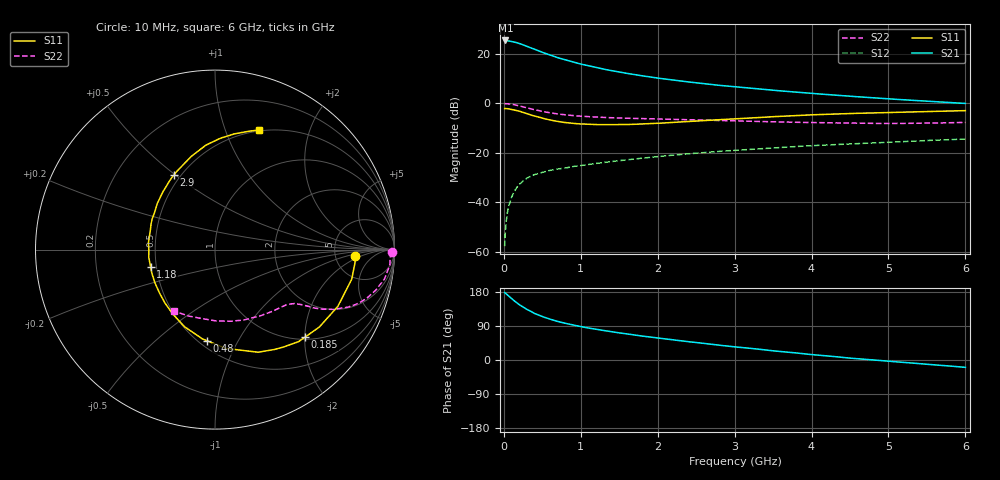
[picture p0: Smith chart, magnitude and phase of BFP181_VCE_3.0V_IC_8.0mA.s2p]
! Infineon Technologies  Discrete & RF Semiconductors
! BFP181
! VCE = 3.0 V,  IC =  8.0 mA
! Common Emitter S-Parameters:  Jan 2016
# GHz  S  MA  R  50
!  f  S11  S21  S12  S22
! GHz  MAG  ANG  MAG  ANG  MAG  ANG  MAG  ANG
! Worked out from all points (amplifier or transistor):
!   210 points, 10 MHz to 6 GHz, reference 50 ohm
!   highest |S21| = 25.4 dB at 20 MHz (marker M1)
!   |S21| within 3 dB of that: start of sweep to 354.3 MHz
!   unconditionally stable (mu >= 1): 1.301 GHz to end of sweep
!   at 185 MHz: K = 0.24, MSG = 28.8 dB, |S12| = -33.4 dB
!   at 1.52 GHz: K = 1.06, MAG = 16.3 dB, |S12| = -23.1 dB
!   at 6 GHz: K = 1.01, MAG = 6.5 dB, |S12| = -14.5 dB
!   S11 on the Smith chart (normalised r, x): 10 MHz: 7.91, -1.44; 185 MHz: 1.05, -2.00; 480 MHz: 0.55, -0.75; 1.18 GHz: 0.46, -0.10; 2.9 GHz: 0.46, +0.50; 6 GHz: 0.49, +1.31
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0.01  0.782 -2.6  18.52 178.0  0.0013 85.2  0.9849 -0.8
0.02  0.7837 -5.2  18.56 176.6  0.0026 91.3  0.9778 -1.9
0.05  0.7794 -12.2  18.37 170.8  0.0067 84.4  0.9777 -5.0
0.1  0.754 -24.8  17.71 162.2  0.0126 77.2  0.9586 -9.8
0.15  0.7239 -36.6  17.08 153.7  0.018 70.9  0.9243 -14.1
0.185  0.6995 -44.3  16.43 148.5  0.0215 67.7  0.8983 -16.7
0.24  0.6617 -55.4  15.33 140.8  0.0261 63.8  0.8556 -20.3
0.3  0.6202 -67.2  14.23 133.5  0.0308 60.1  0.8086 -23.3
0.4  0.5542 -83.7  12.33 122.7  0.0363 54.5  0.7395 -26.8
0.48  0.5098 -95.0  10.99 116.3  0.0394 51.7  0.6952 -28.5
0.6  0.4621 -111.5  9.467 107.5  0.0442 49.3  0.6413 -30.5
0.7  0.4297 -123.1  8.328 101.7  0.0471 47.8  0.6081 -31.3
0.8  0.4078 -133.2  7.526 96.7  0.0493 46.9  0.5839 -32.0
1.02  0.3805 -152.9  6.095 87.5  0.0557 46.2  0.5462 -33.6
1.18  0.3713 -165.3  5.351 81.8  0.0604 45.8  0.5282 -34.8
1.5  0.373 174.4  4.276 71.5  0.0691 45.8  0.5037 -37.5
2.02  0.3952 148.4  3.194 57.6  0.0843 44.3  0.4795 -43.6
2.9  0.4751 118.7  2.227 36.9  0.1093 40.0  0.4437 -56.9
3.1  0.4937 113.4  2.084 32.9  0.1146 38.8  0.4352 -60.3
4.1  0.5907 93.4  1.542 12.6  0.1415 31.9  0.4047 -80.2
5.1  0.6579 79.5  1.201 -4.8  0.1659 25.1  0.3914 -102.7
6  0.7099 70.0  0.993 -19.4  0.1892 18.3  0.4109 -123.5
